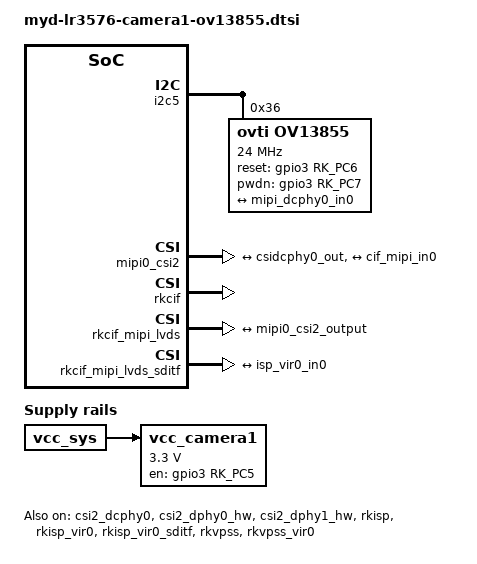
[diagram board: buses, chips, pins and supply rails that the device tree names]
// SPDX-License-Identifier: (GPL-2.0+ OR MIT)
/*
 * Copyright (c) 2024 MYIR Electronics Co., Ltd.
 *
 */

/ {
	vcc_camera1: vcc-camera1 {
		compatible = "regulator-fixed";
		regulator-name = "vcc_camera1";
		regulator-boot-on;
		regulator-always-on;
		regulator-min-microvolt = <3300000>;
		regulator-max-microvolt = <3300000>;
		enable-active-high;
		gpio = <&gpio3 RK_PC5 GPIO_ACTIVE_HIGH>;
		pinctrl-names = "default";
		pinctrl-0 = <&camera1_pwr>;
		vin-supply = <&vcc_sys>;
	};

	clk_camera1_fixed: clock {
		compatible = "fixed-clock";
		#clock-cells = <0>;
		clock-frequency = <24000000>;
		clock-output-names = "CLK_CAMERA1_24MHZ";
	};
};

&csi2_dcphy0 {
	status = "okay";

	ports {
		#address-cells = <1>;
		#size-cells = <0>;
		port@0 {
			reg = <0>;
			#address-cells = <1>;
			#size-cells = <0>;

			mipi_dcphy0_in0: endpoint@1 {
				reg = <1>;
				remote-endpoint = <&ov13855_out>;
				data-lanes = <1 2 3 4>;
			};
		};
		port@1 {
			reg = <1>;
			#address-cells = <1>;
			#size-cells = <0>;

			csidcphy0_out: endpoint@0 {
				reg = <0>;
				remote-endpoint = <&mipi0_csi2_input>;
			};
		};
	};
};

&csi2_dphy0_hw {
	status = "okay";
};

&csi2_dphy1_hw {
	status = "okay";
};

&i2c5 {
	status = "okay";
	pinctrl-names = "default";
	pinctrl-0 = <&i2c5m3_xfer>;

	ov13855: ov13855@36 {
		status = "okay";
		compatible = "ovti,ov13855";
		reg = <0x36>;
		clocks = <&clk_camera1_fixed>;
		clock-names = "xvclk";
		clock-frequency = <24000000>;
		power-domains = <&power RK3576_PD_VI>;
		reset-gpios = <&gpio3 RK_PC6 GPIO_ACTIVE_HIGH>;
		pwdn-gpios = <&gpio3 RK_PC7 GPIO_ACTIVE_HIGH>;
		rockchip,camera-module-index = <0>;
		rockchip,camera-module-facing = "back";
		rockchip,camera-module-name = "default";
		rockchip,camera-module-lens-name = "default";
		port {
			ov13855_out: endpoint {
				remote-endpoint = <&mipi_dcphy0_in0>;
				data-lanes = <1 2 3 4>;
			};
		};
	};
};

&mipi0_csi2 {
	status = "okay";

	ports {
		#address-cells = <1>;
		#size-cells = <0>;

		port@0 {
			reg = <0>;
			#address-cells = <1>;
			#size-cells = <0>;

			mipi0_csi2_input: endpoint@1 {
				reg = <1>;
				remote-endpoint = <&csidcphy0_out>;
			};
		};

		port@1 {
			reg = <1>;
			#address-cells = <1>;
			#size-cells = <0>;

			mipi0_csi2_output: endpoint@0 {
				reg = <0>;
				remote-endpoint = <&cif_mipi_in0>;
			};
		};
	};
};

&pinctrl {
	camera1_pwr {
		camera1_pwr: camera1-pwr {
			rockchip,pins =
				/* camera power en */
				<3 RK_PC5 RK_FUNC_GPIO &pcfg_pull_none>;
		};
	};

	camera1_default_pins {
		camera1_default_pins: camera1-default-pins {
			rockchip,pins =
				<3 RK_PC6 RK_FUNC_GPIO &pcfg_pull_up>,
				<3 RK_PC7 RK_FUNC_GPIO &pcfg_pull_up>;
		};
	};

	camera1_sleep_pins {
		camera1_sleep_pins: camera1-sleep-pins {
			rockchip,pins =
				<3 RK_PC6 RK_FUNC_GPIO &pcfg_pull_up>,
				<3 RK_PC7 RK_FUNC_GPIO &pcfg_pull_up>;
		};
	};
};

&rkcif {
	status = "okay";
};

&rkcif_mipi_lvds {
	status = "okay";

	port {
		cif_mipi_in0: endpoint {
			remote-endpoint = <&mipi0_csi2_output>;
		};
	};
};

&rkcif_mipi_lvds_sditf {
	status = "okay";

	port {
		mipi_lvds_sditf: endpoint {
			remote-endpoint = <&isp_vir0_in0>;
		};
	};
};

&rkcif_mmu {
	status = "okay";
};

&rkisp {
	status = "okay";
};

&rkisp_mmu {
	status = "okay";
};

&rkisp_vir0 {
	status = "okay";

	port {
		#address-cells = <1>;
		#size-cells = <0>;

		isp_vir0_in0: endpoint@0 {
			reg = <0>;
			remote-endpoint = <&mipi_lvds_sditf>;
		};
	};
};

&rkisp_vir0_sditf {
	status = "okay";
};

&rkvpss {
	status = "okay";
};

&rkvpss_mmu {
	status = "okay";
};

&rkvpss_vir0 {
	status = "okay";
};
